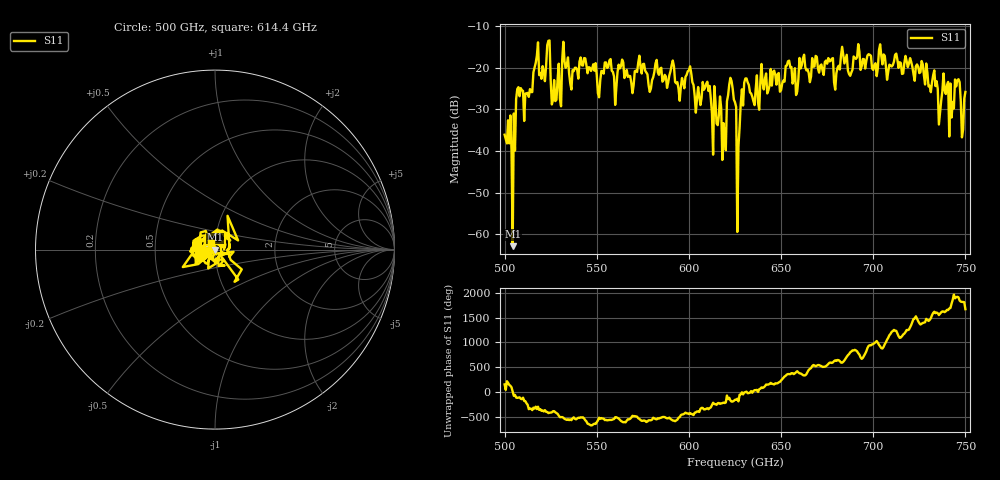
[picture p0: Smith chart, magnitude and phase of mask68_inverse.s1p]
!Created with skrf (http://scikit-rf.org).
# GHz S MA R 50.0
!freq magS11 angS11
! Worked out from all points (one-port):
!   401 points, 500 GHz to 750 GHz, reference 50 ohm
!   lowest |S11| = -62.8 dB at 504.4 GHz (marker M1), VSWR 1.00, Z = 50.1 + j0.0169 ohm
!   |S11| at or under -10 dB: start of sweep to end of sweep
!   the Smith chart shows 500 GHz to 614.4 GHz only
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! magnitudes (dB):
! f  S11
! 500 GHz  -36.1
! 504.4 GHz  -62.8
! 507.5 GHz  -24.7
! 511.9 GHz  -26.2
! 516.9 GHz  -18.9
! 523.8 GHz  -13.6
! 526.9 GHz  -23.0
! 531.2 GHz  -18.2
! 562.5 GHz  -20.2
! 590.6 GHz  -19.4
! 593.8 GHz  -23.5
! 610 GHz  -23.4
! 618.8 GHz  -33.3
! 622.5 GHz  -22.4
! 624.4 GHz  -27.6
! 625 GHz  -28.3
! 627.5 GHz  -34.3
! 629.4 GHz  -29.1
! 631.2 GHz  -22.6
! 634.4 GHz  -27.0
! 656.2 GHz  -23.8
! 687.5 GHz  -22.0
! 718.8 GHz  -19.9
! 736.2 GHz  -30.7
! 739.4 GHz  -26.3
! 742.5 GHz  -32.0
! 745.6 GHz  -23.1
! 750 GHz  -25.8
